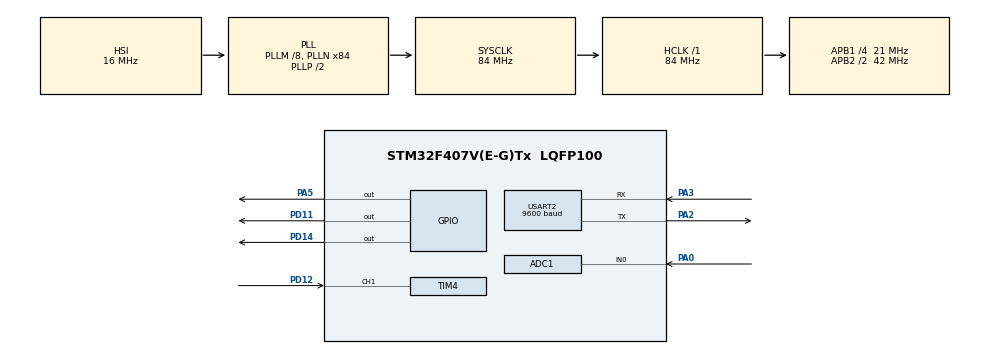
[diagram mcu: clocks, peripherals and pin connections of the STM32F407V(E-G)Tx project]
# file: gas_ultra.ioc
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ADC1.Channel-1\#ChannelRegularConversion=ADC_CHANNEL_0
ADC1.NbrOfConversionFlag=1
ADC1.Rank-1\#ChannelRegularConversion=1
ADC1.SamplingTime-1\#ChannelRegularConversion=ADC_SAMPLETIME_3CYCLES
ADC1.master=1
FREERTOS.INCLUDE_vTaskDelayUntil=1
FREERTOS.Tasks01=defaultTask,-3,128,StartDefaultTask,Default,NULL,Dynamic,NULL,NULL
FREERTOS.configUSE_NEWLIB_REENTRANT=1
Mcu.Family=STM32F4
Mcu.Name=STM32F407V(E-G)Tx
Mcu.Package=LQFP100
NVIC.PriorityGroup=NVIC_PRIORITYGROUP_4
NVIC.TIM1_UP_TIM10_IRQn=true\:15\:0\:false\:false\:true\:false\:false\:true\:true
NVIC.TIM4_IRQn=true\:5\:0\:false\:false\:true\:true\:true\:true\:true
NVIC.TimeBase=TIM1_UP_TIM10_IRQn
NVIC.TimeBaseIP=TIM1
PA0-WKUP.Signal=ADCx_IN0
PA13.Mode=Serial_Wire
PA13.Signal=SYS_JTMS-SWDIO
PA14.Mode=Serial_Wire
PA14.Signal=SYS_JTCK-SWCLK
PA2.Mode=Asynchronous
PA2.Signal=USART2_TX
PA3.Mode=Asynchronous
PA3.Signal=USART2_RX
PA5.Signal=GPIO_Output
PD11.Signal=GPIO_Output
PD12.Signal=S_TIM4_CH1
PD14.Signal=GPIO_Output
PH0-OSC_IN.Mode=HSE-External-Oscillator
PH0-OSC_IN.Signal=RCC_OSC_IN
PH1-OSC_OUT.Mode=HSE-External-Oscillator
PH1-OSC_OUT.Signal=RCC_OSC_OUT
ProjectManager.HeapSize=0x200
ProjectManager.StackSize=0x400
ProjectManager.TargetToolchain=STM32CubeIDE
RCC.48MHZClocksFreq_Value=24000000
RCC.AHBFreq_Value=84000000
RCC.APB1CLKDivider=RCC_HCLK_DIV4
RCC.APB1Freq_Value=21000000
RCC.APB1TimFreq_Value=42000000
RCC.APB2CLKDivider=RCC_HCLK_DIV2
RCC.APB2Freq_Value=42000000
RCC.APB2TimFreq_Value=84000000
RCC.CortexFreq_Value=84000000
RCC.HCLKFreq_Value=84000000
RCC.HSE_VALUE=8000000
RCC.HSI_VALUE=16000000
RCC.LSE_VALUE=32768
RCC.PLLM=8
RCC.PLLN=84
RCC.PLLQ=7
RCC.SYSCLKFreq_VALUE=84000000
RCC.SYSCLKSource=RCC_SYSCLKSOURCE_PLLCLK
RCC.VCOOutputFreq_Value=168000000
SH.ADCx_IN0.0=ADC1_IN0,IN0
SH.S_TIM4_CH1.0=TIM4_CH1,Input_Capture1_from_TI1
TIM4.Channel-Input_Capture1_from_TI1=TIM_CHANNEL_1
TIM4.Prescaler=84-1
USART2.BaudRate=9600
USART2.VirtualMode=VM_ASYNC
VP_FREERTOS_VS_CMSIS_V1.Mode=CMSIS_V1
VP_SYS_VS_tim1.Mode=TIM1
VP_TIM4_VS_ClockSourceINT.Mode=Internal
board=STM32F407G-DISC1

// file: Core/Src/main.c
/* USER CODE BEGIN Header */
/**
  ******************************************************************************
  * @file           : main.c
  * @brief          : Main program body
  ******************************************************************************
  * @attention
  *
  * Copyright (c) 2025 STMicroelectronics.
  * All rights reserved.
  *
  * This software is licensed under terms that can be found in the LICENSE file
  * in the root directory of this software component.
  * If no LICENSE file comes with this software, it is provided AS-IS.
  *
  ******************************************************************************
  */
/* USER CODE END Header */
#include "main.h"
#include "cmsis_os.h"

/* USER CODE BEGIN Includes */
#include<stdio.h>
#include<string.h>
#include "DHT11.h"
#include"ultrasonic.h"
/* USER CODE END Includes */

/* USER CODE BEGIN PTD */
DHT_DataTypedef DHT11_Data;
int Temperature, Humidity;
/* USER CODE END PTD */

ADC_HandleTypeDef hadc1;

TIM_HandleTypeDef htim4;

UART_HandleTypeDef huart2;

osThreadId defaultTaskHandle;
/* USER CODE BEGIN PV */
uint16_t distance = 0;
uint8_t isReadingFinished = 0;
/* USER CODE END PV */

void SystemClock_Config(void);
static void MX_GPIO_Init(void);
static void MX_ADC1_Init(void);
static void MX_USART2_UART_Init(void);
static void MX_TIM4_Init(void);
void StartDefaultTask(void const * argument);

/* USER CODE BEGIN 0 */
void vGASDataSendingTask(void *pvParam)
{
	char msg[64];
	portTickType xLastTime = xTaskGetTickCount();
	while(1){
		HAL_ADC_Start(&hadc1);
		HAL_ADC_PollForConversion(&hadc1, HAL_MAX_DELAY);
		uint32_t value = HAL_ADC_GetValue(&hadc1);
		HAL_ADC_Stop(&hadc1);

		sprintf(msg, "Gas value : %d \r\n", value);
		HAL_UART_Transmit(&huart2, (uint8_t *)msg, strlen(msg), HAL_MAX_DELAY);
		if(value>2000){
			HAL_GPIO_TogglePin(GPIOD, GPIO_PIN_14);
	    	sprintf(msg, "Gas Leakage Detected.......  \r \n");
			HAL_UART_Transmit(&huart2, (uint8_t *)msg, strlen(msg), HAL_MAX_DELAY);

		}
		vTaskDelayUntil(&xLastTime, 2000 / portTICK_RATE_MS);
	}
	vTaskDelete(NULL);
}
void vDistanceTask(void *pvParameters)
{
    while (1)
    {

    	char str[64];

    	Ultrasonic_distance();
    	sprintf(str, "Distance : %d cms \r \n", distance);
    	HAL_UART_Transmit(&huart2, (uint8_t *)str, strlen(str), HAL_MAX_DELAY);
    	if(distance<15){
			HAL_GPIO_TogglePin(GPIOD, GPIO_PIN_14);
			}
        vTaskDelay(pdMS_TO_TICKS(1000));
    }
   vTaskDelete(NULL);
}
void vTEMPDataSendingTask(void *pvParam)
{
	   char buffer[64];
	   portTickType xLastTime = xTaskGetTickCount();
	   while(1){
            DHT_GetData(&DHT11_Data);
	    Temperature = DHT11_Data.Temperature;
	    Humidity = DHT11_Data.Humidity;

	    sprintf(buffer, "Humidity = %d and Temperature = %d\r\n", Humidity,Temperature);
	    HAL_UART_Transmit(&huart2, (uint8_t *)buffer,  sizeof(buffer), HAL_MAX_DELAY);

         if(Temperature>65){

			HAL_GPIO_TogglePin(GPIOD, GPIO_PIN_14);
		sprintf(buffer, "The Temperature is very high to work........\r\n");
	        HAL_UART_Transmit(&huart2, (uint8_t *)buffer,  sizeof(buffer), HAL_MAX_DELAY);
	 		}
	    vTaskDelayUntil(&xLastTime, 2000 / portTICK_RATE_MS);
	   }
 	vTaskDelete(NULL);
}
/* USER CODE END 0 */

int main(void)
{

  /* USER CODE BEGIN 1 */
	   char *str2 = "Resetting The Machin\r\n";
  /* USER CODE END 1 */

  /* MCU Configuration--------------------------------------------------------*/

  /* Reset of all peripherals, Initializes the Flash interface and the Systick. */
  HAL_Init();

  /* Configure the system clock */
  SystemClock_Config();

  /* Initialize all configured peripherals */
  MX_GPIO_Init();
  MX_ADC1_Init();
  MX_USART2_UART_Init();
  MX_TIM4_Init();
  /* USER CODE BEGIN 2 */
  HAL_UART_Transmit(&huart2, (uint8_t *)str2, strlen(str2), HAL_MAX_DELAY);
  HAL_TIM_IC_Start_IT(&htim4, TIM_CHANNEL_1);
  /* USER CODE END 2 */

  /* Create the thread(s) */
  /* definition and creation of defaultTask */
  osThreadDef(defaultTask, StartDefaultTask, osPriorityIdle, 0, 128);
  defaultTaskHandle = osThreadCreate(osThread(defaultTask), NULL);

  /* USER CODE BEGIN RTOS_THREADS */
  xTaskCreate(vGASDataSendingTask, "GasTask", 128, NULL, 2, NULL);
  xTaskCreate(vDistanceTask, "DistanceTask", 128, NULL, 3, NULL);
  xTaskCreate(vTEMPDataSendingTask, "TemperatureTask", 128, NULL, 4, NULL);
  /* USER CODE END RTOS_THREADS */

  /* Start scheduler */
  osKernelStart();

  /* We should never get here as control is now taken by the scheduler */

  /* Infinite loop */
  while (1)
  {

  }
}

void SystemClock_Config(void)
{
  RCC_OscInitTypeDef RCC_OscInitStruct = {0};
  RCC_ClkInitTypeDef RCC_ClkInitStruct = {0};

  /** Configure the main internal regulator output voltage
  */
  __HAL_RCC_PWR_CLK_ENABLE();
  __HAL_PWR_VOLTAGESCALING_CONFIG(PWR_REGULATOR_VOLTAGE_SCALE1);

  /** Initializes the RCC Oscillators according to the specified parameters
  * in the RCC_OscInitTypeDef structure.
  */
  RCC_OscInitStruct.OscillatorType = RCC_OSCILLATORTYPE_HSI;
  RCC_OscInitStruct.HSIState = RCC_HSI_ON;
  RCC_OscInitStruct.HSICalibrationValue = RCC_HSICALIBRATION_DEFAULT;
  RCC_OscInitStruct.PLL.PLLState = RCC_PLL_ON;
  RCC_OscInitStruct.PLL.PLLSource = RCC_PLLSOURCE_HSI;
  RCC_OscInitStruct.PLL.PLLM = 8;
  RCC_OscInitStruct.PLL.PLLN = 84;
  RCC_OscInitStruct.PLL.PLLP = RCC_PLLP_DIV2;
  RCC_OscInitStruct.PLL.PLLQ = 7;
  if (HAL_RCC_OscConfig(&RCC_OscInitStruct) != HAL_OK)
  {
    Error_Handler();
  }

  /** Initializes the CPU, AHB and APB buses clocks
  */
  RCC_ClkInitStruct.ClockType = RCC_CLOCKTYPE_HCLK|RCC_CLOCKTYPE_SYSCLK
                              |RCC_CLOCKTYPE_PCLK1|RCC_CLOCKTYPE_PCLK2;
  RCC_ClkInitStruct.SYSCLKSource = RCC_SYSCLKSOURCE_PLLCLK;
  RCC_ClkInitStruct.AHBCLKDivider = RCC_SYSCLK_DIV1;
  RCC_ClkInitStruct.APB1CLKDivider = RCC_HCLK_DIV4;
  RCC_ClkInitStruct.APB2CLKDivider = RCC_HCLK_DIV2;

  if (HAL_RCC_ClockConfig(&RCC_ClkInitStruct, FLASH_LATENCY_2) != HAL_OK)
  {
    Error_Handler();
  }
}

static void MX_ADC1_Init(void)
{

  ADC_ChannelConfTypeDef sConfig = {0};

  /** Configure the global features of the ADC (Clock, Resolution, Data Alignment and number of conversion)
  */
  hadc1.Instance = ADC1;
  hadc1.Init.ClockPrescaler = ADC_CLOCK_SYNC_PCLK_DIV2;
  hadc1.Init.Resolution = ADC_RESOLUTION_12B;
  hadc1.Init.ScanConvMode = DISABLE;
  hadc1.Init.ContinuousConvMode = DISABLE;
  hadc1.Init.DiscontinuousConvMode = DISABLE;
  hadc1.Init.ExternalTrigConvEdge = ADC_EXTERNALTRIGCONVEDGE_NONE;
  hadc1.Init.ExternalTrigConv = ADC_SOFTWARE_START;
  hadc1.Init.DataAlign = ADC_DATAALIGN_RIGHT;
  hadc1.Init.NbrOfConversion = 1;
  hadc1.Init.DMAContinuousRequests = DISABLE;
  hadc1.Init.EOCSelection = ADC_EOC_SINGLE_CONV;
  if (HAL_ADC_Init(&hadc1) != HAL_OK)
  {
    Error_Handler();
  }

  /** Configure for the selected ADC regular channel its corresponding rank in the sequencer and its sample time.
  */
  sConfig.Channel = ADC_CHANNEL_0;
  sConfig.Rank = 1;
  sConfig.SamplingTime = ADC_SAMPLETIME_3CYCLES;
  if (HAL_ADC_ConfigChannel(&hadc1, &sConfig) != HAL_OK)
  {
    Error_Handler();
  }

}

static void MX_TIM4_Init(void)
{

  TIM_ClockConfigTypeDef sClockSourceConfig = {0};
  TIM_MasterConfigTypeDef sMasterConfig = {0};
  TIM_IC_InitTypeDef sConfigIC = {0};

  htim4.Instance = TIM4;
  htim4.Init.Prescaler = 84-1;
  htim4.Init.CounterMode = TIM_COUNTERMODE_UP;
  htim4.Init.Period = 65535;
  htim4.Init.ClockDivision = TIM_CLOCKDIVISION_DIV1;
  htim4.Init.AutoReloadPreload = TIM_AUTORELOAD_PRELOAD_DISABLE;
  if (HAL_TIM_Base_Init(&htim4) != HAL_OK)
  {
    Error_Handler();
  }
  sClockSourceConfig.ClockSource = TIM_CLOCKSOURCE_INTERNAL;
  if (HAL_TIM_ConfigClockSource(&htim4, &sClockSourceConfig) != HAL_OK)
  {
    Error_Handler();
  }
  if (HAL_TIM_IC_Init(&htim4) != HAL_OK)
  {
    Error_Handler();
  }
  sMasterConfig.MasterOutputTrigger = TIM_TRGO_RESET;
  sMasterConfig.MasterSlaveMode = TIM_MASTERSLAVEMODE_DISABLE;
  if (HAL_TIMEx_MasterConfigSynchronization(&htim4, &sMasterConfig) != HAL_OK)
  {
    Error_Handler();
  }
  sConfigIC.ICPolarity = TIM_INPUTCHANNELPOLARITY_RISING;
  sConfigIC.ICSelection = TIM_ICSELECTION_DIRECTTI;
  sConfigIC.ICPrescaler = TIM_ICPSC_DIV1;
  sConfigIC.ICFilter = 0;
  if (HAL_TIM_IC_ConfigChannel(&htim4, &sConfigIC, TIM_CHANNEL_1) != HAL_OK)
  {
    Error_Handler();
  }

}

static void MX_USART2_UART_Init(void)
{

  huart2.Instance = USART2;
  huart2.Init.BaudRate = 9600;
  huart2.Init.WordLength = UART_WORDLENGTH_8B;
  huart2.Init.StopBits = UART_STOPBITS_1;
  huart2.Init.Parity = UART_PARITY_NONE;
  huart2.Init.Mode = UART_MODE_TX_RX;
  huart2.Init.HwFlowCtl = UART_HWCONTROL_NONE;
  huart2.Init.OverSampling = UART_OVERSAMPLING_16;
  if (HAL_UART_Init(&huart2) != HAL_OK)
  {
    Error_Handler();
  }

}

static void MX_GPIO_Init(void)
{
  GPIO_InitTypeDef GPIO_InitStruct = {0};

  /* GPIO Ports Clock Enable */
  __HAL_RCC_GPIOH_CLK_ENABLE();
  __HAL_RCC_GPIOA_CLK_ENABLE();
  __HAL_RCC_GPIOD_CLK_ENABLE();

  /*Configure GPIO pin Output Level */
  HAL_GPIO_WritePin(GPIOA, GPIO_PIN_5, GPIO_PIN_RESET);

  /*Configure GPIO pin Output Level */
  HAL_GPIO_WritePin(GPIOD, GPIO_PIN_11|GPIO_PIN_14, GPIO_PIN_RESET);

  /*Configure GPIO pin : PA5 */
  GPIO_InitStruct.Pin = GPIO_PIN_5;
  GPIO_InitStruct.Mode = GPIO_MODE_OUTPUT_PP;
  GPIO_InitStruct.Pull = GPIO_NOPULL;
  GPIO_InitStruct.Speed = GPIO_SPEED_FREQ_LOW;
  HAL_GPIO_Init(GPIOA, &GPIO_InitStruct);

  /*Configure GPIO pins : PD11 PD14 */
  GPIO_InitStruct.Pin = GPIO_PIN_11|GPIO_PIN_14;
  GPIO_InitStruct.Mode = GPIO_MODE_OUTPUT_PP;
  GPIO_InitStruct.Pull = GPIO_NOPULL;
  GPIO_InitStruct.Speed = GPIO_SPEED_FREQ_LOW;
  HAL_GPIO_Init(GPIOD, &GPIO_InitStruct);

}

void StartDefaultTask(void const * argument)
{
  for(;;)
  {
    osDelay(1);
  }
}

void HAL_TIM_PeriodElapsedCallback(TIM_HandleTypeDef *htim)
{
  if (htim->Instance == TIM1) {
    HAL_IncTick();
  }
}

void Error_Handler(void)
{
  __disable_irq();
  while (1)
  {
  }
}
